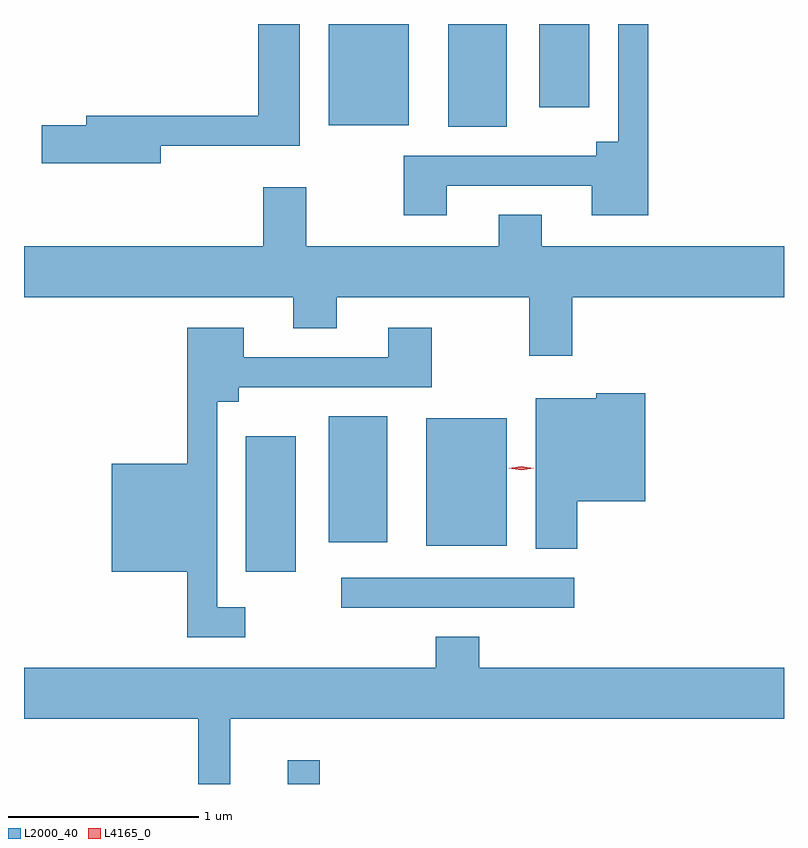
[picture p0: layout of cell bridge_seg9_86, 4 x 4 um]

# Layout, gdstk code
import gdstk
lib = gdstk.Library(unit=1e-6, precision=1e-09)
def R(c, l, rs):  # rectangles x0, y0, x1, y1
    for r in rs: c.add(gdstk.rectangle(r[:2], r[2:], *l))
def P(c, l, *ps):  # polygons
    for p in ps: c.add(gdstk.Polygon(p, *l))
L2000_40 = (2000, 40)
L4165_0 = (4165, 0)

bridge_seg9_86 = lib.new_cell('bridge_seg9_86')
R(bridge_seg9_86, L2000_40, [(1729.861,2000.353,1730.029,2000.478), (1730.143,2001.281,1731.368,2001.439), (1729.641,2001.471,1729.904,2002.184), (1730.591,2001.606,1731.014,2002.279), (1730.076,2001.626,1730.384,2002.289), (1730.706,2003.811,1731.014,2004.353), (1730.076,2003.821,1730.499,2004.353), (1731.186,2003.916,1731.449,2004.353)])
P(bridge_seg9_86, L2000_40, [(1729.194,2003.711),(1729.924,2003.711),(1729.924,2004.353),(1729.706,2004.353),(1729.706,2003.869),(1728.801,2003.869),(1728.801,2003.819),(1728.566,2003.819),(1728.566,2003.621),(1729.194,2003.621)],
  [(1730.699,2003.501),(1731.461,2003.501),(1731.461,2003.346),(1731.759,2003.346),(1731.759,2004.353),(1731.601,2004.353),(1731.601,2003.734),(1731.486,2003.734),(1731.486,2003.659),(1730.471,2003.659),(1730.471,2003.346),(1730.699,2003.346)],
  [(1731.359,2002.916),(1732.473,2002.916),(1732.473,2003.184),(1731.199,2003.184),(1731.199,2003.349),(1730.971,2003.349),(1730.971,2003.184),(1729.959,2003.184),(1729.959,2003.494),(1729.731,2003.494),(1729.731,2003.184),(1728.473,2003.184),(1728.473,2002.916),(1729.891,2002.916),(1729.891,2002.751),(1730.119,2002.751),(1730.119,2002.916),(1731.131,2002.916),(1731.131,2002.606),(1731.359,2002.606)],
  [(1729.638,2001.284),(1729.489,2001.284),(1729.489,2002.366),(1729.604,2002.366),(1729.604,2002.441),(1730.619,2002.441),(1730.619,2002.754),(1730.391,2002.754),(1730.391,2002.599),(1729.629,2002.599),(1729.629,2002.754),(1729.331,2002.754),(1729.331,2002.039),(1728.936,2002.039),(1728.936,2001.471),(1729.331,2001.471),(1729.331,2001.126),(1729.638,2001.126)],
  [(1731.384,2001.841),(1731.744,2001.841),(1731.744,2002.409),(1731.486,2002.409),(1731.486,2002.384),(1731.166,2002.384),(1731.166,2001.591),(1731.384,2001.591)],
  [(1729.559,2000.696),(1732.473,2000.696),(1732.473,2000.964),(1730.869,2000.964),(1730.869,2001.129),(1730.641,2001.129),(1730.641,2000.964),(1728.473,2000.964),(1728.473,2000.696),(1729.391,2000.696),(1729.391,2000.353),(1729.559,2000.353)])
P(bridge_seg9_86, L4165_0, [(1731.09,2002.005),(1731.024,2002.014),(1731.024,2002.014),(1731.024,2002.015),(1731.09,2002.025),(1731.156,2002.016),(1731.156,2002.016),(1731.156,2002.015)])

lib.write_gds('bridge_seg9_86.gds')
